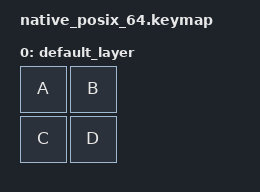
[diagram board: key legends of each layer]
/*
 * Test: idle-wake
 *
 * Verifies that the rolling-combos module's activity poke keeps the
 * idle timer alive across multiple idle/wake cycles.  The module raises
 * a synthetic sensor event on every key-down (via a deferred work item)
 * so that the activity listener calls note_activity() even though
 * position events are captured before reaching it.
 *
 * Uses CONFIG_ZMK_IDLE_TIMEOUT=500 (via native_posix_64.conf).
 *
 * Sequence:
 *   1. Press combo (0+1 → X)
 *   2. Wait 1000ms — idle fires at 500ms, combo works in round 2
 *   3. Press combo (0+1 → X) again
 *   4. Wait 1000ms — idle fires at 500ms again
 *   5. Dummy key (D) keeps process alive through second idle gap
 *
 * Expected output: both combos produce X, dummy produces D.
 * If the activity poke fails, the idle timer never resets after the
 * first blank and the second combo round would still work but the
 * display would never blank again.
 */

#include <dt-bindings/zmk/keys.h>
#include <behaviors.dtsi>
#include <dt-bindings/zmk/kscan_mock.h>

/ {
    rolling_combos {
        compatible = "zmk,rolling-combos";
        combo_x {
            timeout-ms = <200>;
            key-positions = <0 1>;
            bindings = <&kp X>;
        };
    };

    keymap {
        compatible = "zmk,keymap";
        default_layer {
            bindings = <
                &kp A &kp B
                &kp C &kp D
            >;
        };
    };
};

&kscan {
    exit-after;
    events = <
        /* Round 1: press combo */
        ZMK_MOCK_PRESS(0, 0, 0)
        ZMK_MOCK_PRESS(0, 1, 10)
        ZMK_MOCK_RELEASE(0, 0, 200)
        /* 1000ms gap after this release: idle timeout (500ms) fires in between */
        ZMK_MOCK_RELEASE(0, 1, 1000)
        /* Round 2: press combo again after idle */
        ZMK_MOCK_PRESS(0, 0, 10)
        ZMK_MOCK_PRESS(0, 1, 10)
        ZMK_MOCK_RELEASE(0, 0, 200)
        /* 1000ms gap after this release: second idle timeout fires at +500ms.
         * Dummy press at position 3 (not in any combo) keeps process alive
         * through the idle gap. Another 1000ms after dummy release lets us
         * observe a third IDLE proving the cycle repeats. */
        ZMK_MOCK_RELEASE(0, 1, 1000)
        ZMK_MOCK_PRESS(1, 1, 0)
        ZMK_MOCK_RELEASE(1, 1, 1000)
    >;
};
